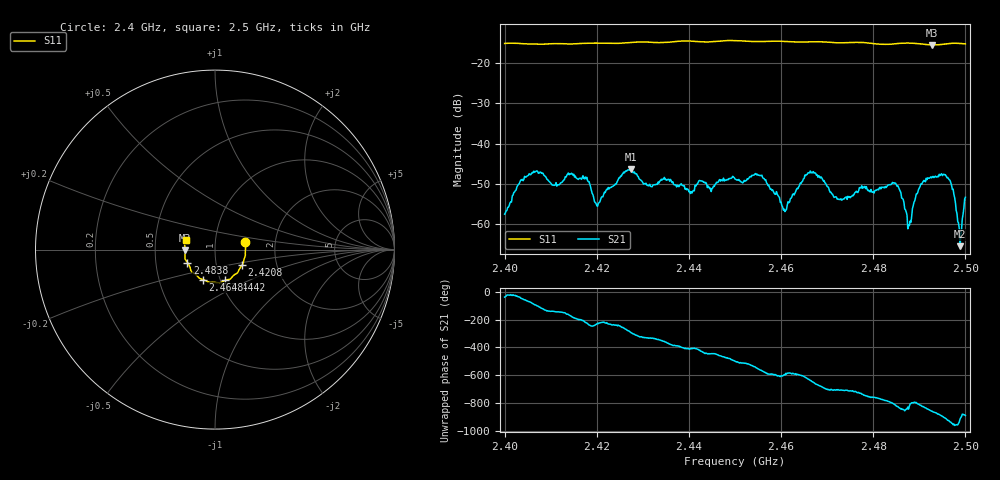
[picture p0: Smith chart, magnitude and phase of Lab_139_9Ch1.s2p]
# Hz S RI R 50
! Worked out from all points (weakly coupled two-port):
!   601 points, 2.4 GHz to 2.5 GHz, reference 50 ohm
!   highest |S21| = -46.38 dB at 2.4273 GHz (marker M1); lowest = -65.4 dB at 2.4988 GHz (marker M2)
!   lowest |S11| = -15.6 dB at 2.4928 GHz (marker M3), VSWR 1.40, Z = 35.8 - j0.354 ohm
!   |S11| at or under -10 dB: start of sweep to end of sweep
!   S12 and S22 are empty: the file has one direction only
!   S11 on the Smith chart (normalised r, x): 2.4 GHz: 1.40, +0.12; 2.4208 GHz: 1.33, -0.24; 2.4442 GHz: 1.05, -0.37; 2.4648 GHz: 0.83, -0.29; 2.4838 GHz: 0.73, -0.11; 2.5 GHz: 0.72, +0.08
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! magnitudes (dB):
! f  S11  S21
! 2.4 GHz  -15.2  -57.5
! 2.4065 GHz  -15.4  -47.1
! 2.4167 GHz  -15.2  -48.9
! 2.4208 GHz  -15.2  -53.9
! 2.4273 GHz  -15.0  -46.4
! 2.4333 GHz  -15.0  -49.5
! 2.4442 GHz  -14.9  -50.5
! 2.45 GHz  -14.5  -48.8
! 2.4557 GHz  -14.8  -47.9
! 2.4607 GHz  -14.7  -56.2
! 2.4648 GHz  -14.9  -48.8
! 2.4667 GHz  -14.8  -47.1
! 2.4727 GHz  -15.1  -53.8
! 2.4833 GHz  -15.5  -50.2
! 2.4838 GHz  -15.4  -50.2
! 2.4855 GHz  -15.3  -50.9
! 2.4878 GHz  -15.2  -60.3
! 2.4903 GHz  -15.4  -50.0
! 2.4928 GHz  -15.6  -48.2
! 2.4965 GHz  -15.3  -49.0
! 2.4988 GHz  -15.3  -65.4
! 2.5 GHz  -15.4  -53.3
